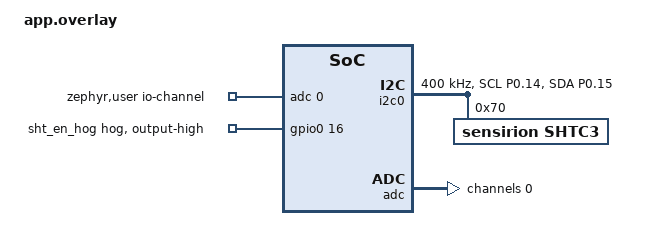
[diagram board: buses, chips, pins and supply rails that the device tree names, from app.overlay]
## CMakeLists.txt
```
cmake_minimum_required(VERSION 3.20.0)
find_package(Zephyr REQUIRED HINTS $ENV{ZEPHYR_BASE})

project(eternal_nrf_code_battery)

target_sources(app PRIVATE src/main.c)
```

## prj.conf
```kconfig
# Bluetooth: broadcaster only (non-connectable advertising, no GATT)
CONFIG_BT=y
CONFIG_BT_BROADCASTER=y
CONFIG_BT_PERIPHERAL=n
CONFIG_BT_OBSERVER=n
CONFIG_BT_CTLR_SDC_PERIPHERAL_COUNT=0
CONFIG_BT_SETTINGS=y
CONFIG_BT_DEVICE_NAME="Eternal"
CONFIG_SETTINGS=y
CONFIG_FLASH=y
CONFIG_FLASH_MAP=y
CONFIG_NVS=y

# Max TX on nRF52810 (+4 dBm) — favor scanner delivery over burst current
CONFIG_BT_CTLR_TX_PWR_PLUS_4=y

# Use external 32.768 kHz crystal (LFXO). DC/DC is enabled by the nrf52dk
# board's `regulator-initial-mode = <NRF5X_REG_MODE_DCDC>` in DT.
CONFIG_CLOCK_CONTROL_NRF_K32SRC_XTAL=y

# Power management: tickless idle is on by default; explicitly enable PM so
# devices (TWIM, SAADC) drop to their low-power pinctrl states between uses.
CONFIG_PM=y
CONFIG_PM_DEVICE=y
CONFIG_PM_DEVICE_RUNTIME=y

# Trim everything we don't need
CONFIG_SIZE_OPTIMIZATIONS=y
CONFIG_BOOT_BANNER=n
CONFIG_SERIAL=n
CONFIG_UART_CONSOLE=n
CONFIG_LOG=n
CONFIG_ASSERT=n
CONFIG_THREAD_NAME=n
CONFIG_THREAD_MONITOR=n
CONFIG_THREAD_STACK_INFO=n

# All logging / console output disabled for production power-saving.
# printk() calls in the source compile to no-ops with CONFIG_PRINTK=n.
CONFIG_CONSOLE=n
CONFIG_PRINTK=n
CONFIG_USE_SEGGER_RTT=n
CONFIG_RTT_CONSOLE=n

# Tight stacks (broadcaster path only)
CONFIG_MAIN_STACK_SIZE=768
CONFIG_IDLE_STACK_SIZE=128
CONFIG_SYSTEM_WORKQUEUE_STACK_SIZE=1024
CONFIG_BT_RX_STACK_SIZE=1024

# SHT-C3 over I2C
CONFIG_I2C=y
CONFIG_SENSOR=y
CONFIG_SHTCX=y

# SAADC for VDD measurement
CONFIG_ADC=y
```

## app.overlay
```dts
#include <zephyr/dt-bindings/gpio/gpio.h>
#include <zephyr/dt-bindings/adc/adc.h>
#include <zephyr/dt-bindings/adc/nrf-saadc.h>

/ {
	zephyr,user {
		io-channels = <&adc 0>;
	};
};

&pinctrl {
	i2c0_default: i2c0_default {
		group1 {
			psels = <NRF_PSEL(TWIM_SCL, 0, 14)>,
				<NRF_PSEL(TWIM_SDA, 0, 15)>;
		};
	};

	i2c0_sleep: i2c0_sleep {
		group1 {
			psels = <NRF_PSEL(TWIM_SCL, 0, 14)>,
				<NRF_PSEL(TWIM_SDA, 0, 15)>;
			low-power-enable;
		};
	};
};

/* Free P0.09 / P0.10 from NFC1/NFC2 mode so they work as plain GPIOs and
 * the NFC antenna-sense circuit isn't burning current in System ON LP.
 * Writes UICR.NFCPINS = Disabled at boot via the HAL init sequence.
 */
&uicr {
	nfct-pins-as-gpios;
};

&gpio0 {
	sht_en_hog {
		gpio-hog;
		gpios = <16 GPIO_ACTIVE_HIGH>;
		output-high;
	};
};

&i2c0 {
	compatible = "nordic,nrf-twim";
	status = "okay";
	pinctrl-0 = <&i2c0_default>;
	pinctrl-1 = <&i2c0_sleep>;
	pinctrl-names = "default", "sleep";
	clock-frequency = <I2C_BITRATE_FAST>;

	shtc3: shtc3@70 {
		compatible = "sensirion,shtc3", "sensirion,shtcx";
		reg = <0x70>;
		measure-mode = "normal";
		zephyr,deferred-init;
	};
};

&adc {
	status = "okay";
	#address-cells = <1>;
	#size-cells = <0>;

	channel@0 {
		reg = <0>;
		zephyr,gain = "ADC_GAIN_1_6";
		zephyr,reference = "ADC_REF_INTERNAL";
		zephyr,acquisition-time = <ADC_ACQ_TIME_DEFAULT>;
		zephyr,input-positive = <NRF_SAADC_VDD>;
		zephyr,resolution = <12>;
	};
};
```

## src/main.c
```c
#include <zephyr/kernel.h>
#include <zephyr/sys/printk.h>
#include <zephyr/device.h>
#include <zephyr/drivers/gpio.h>
#include <zephyr/drivers/sensor.h>
#include <zephyr/drivers/adc.h>
#include <zephyr/bluetooth/bluetooth.h>
#include <zephyr/settings/settings.h>
#include <zephyr/sys/byteorder.h>

/* BTHome v2 service-data format (https://bthome.io)
 *   uuid     : 0xFCD2 (BTHome SIG-assigned 16-bit UUID), little-endian
 *   info     : 0x40 = v2, unencrypted, not trigger-based
 *   0x01     : battery, uint8, % (derived from VDD: 2.20 V = 0%, 3.10 V = 100%)
 *   0x02     : temperature, int16 LE, 0.01 degC resolution
 *   0x03     : humidity, uint16 LE, 0.01 % resolution
 *   0x0F     : generic boolean, uint8 (button state)
 *   0x11     : opening, uint8 (magnet/contact state)
 */
#define BTHOME_UUID         0xFCD2U
#define BTHOME_INFO_V2      0x40U
#define BTHOME_OID_BATTERY  0x01U
#define BTHOME_OID_TEMP     0x02U
#define BTHOME_OID_HUM      0x03U
#define BTHOME_OID_BOOL     0x0FU
#define BTHOME_OID_OPENING  0x11U

/* Linear V->% mapping for the rail powering the nRF VDD pin. Placeholder
 * range; tune to the actual battery / supercap discharge curve once
 * characterised on hardware.
 */
#define BATT_MV_MIN         2200U
#define BATT_MV_MAX         3100U

#define LED0_PIN            10U
#define INPUT_PIN           12U
#define BUTTON_PIN          20U
#define SHT_EN_PIN          16U

#define SENSOR_PERIOD       K_MINUTES(5)
/* Interval matches nrf_doorbell: 20-30 ms (0x0020/0x0030 in 0.625 ms units)
 * instead of BT_LE_ADV_NCONN_IDENTITY's 100-150 ms. ~1500 ms at that cadence
 * is ~50-75 events per burst, vs ~10-15 at the default fast interval, without
 * stretching the radio-on window. TX is +4 dBm (see prj.conf).
 */
#define ADV_BURST_MS        1500U
#define LED_FLASH_MS        30U

/* BLE advertising interval units are 0.625 ms; 0x0020=20 ms, 0x0030=30 ms. */
static const struct bt_le_adv_param adv_param = {
	.id = BT_ID_DEFAULT,
	.sid = 0,
	.secondary_max_skip = 0,
	.options = BT_LE_ADV_OPT_USE_IDENTITY,
	.interval_min = 0x0020,
	.interval_max = 0x0030,
	.peer = NULL,
};

static struct {
	uint16_t uuid;
	uint8_t  info;
	uint8_t  oid_battery;
	uint8_t  battery_pct;
	uint8_t  oid_temp;
	int16_t  temp_centi_c;
	uint8_t  oid_hum;
	uint16_t hum_centi_pct;
	uint8_t  oid_button;
	uint8_t  button_pressed;
	uint8_t  oid_magnet;
	uint8_t  magnet_open;
} __packed svc = {
	.uuid        = sys_cpu_to_le16(BTHOME_UUID),
	.info        = BTHOME_INFO_V2,
	.oid_battery = BTHOME_OID_BATTERY,
	.oid_temp    = BTHOME_OID_TEMP,
	.oid_hum     = BTHOME_OID_HUM,
	.oid_button  = BTHOME_OID_BOOL,
	.oid_magnet  = BTHOME_OID_OPENING,
};

static const struct bt_data ad[] = {
	BT_DATA_BYTES(BT_DATA_FLAGS, BT_LE_AD_NO_BREDR | BT_LE_AD_GENERAL),
	BT_DATA_BYTES(BT_DATA_NAME_COMPLETE,
		      'E', 't', 'e', 'r', 'n', 'a', 'l'),
	BT_DATA(BT_DATA_SVC_DATA16, (const uint8_t *)&svc, sizeof(svc)),
};

static const struct device *const gpio0 = DEVICE_DT_GET(DT_NODELABEL(gpio0));
static const struct device *const shtc3 = DEVICE_DT_GET(DT_NODELABEL(shtc3));
static const struct adc_dt_spec adc_vdd =
	ADC_DT_SPEC_GET(DT_PATH(zephyr_user));

static struct gpio_callback input_cb;
static struct gpio_callback button_cb;
static struct k_work        update_work;
static struct k_work_delayable adv_stop_work;
static struct k_work_delayable sensor_work;
static bool advertising;
static bool bt_ready;

/* Every GPIO we don't drive or sense.
 *
 * Includes both QCAA-exposed pins (4,5,6,9,18,25,28,30) and the die-pad
 * pins that aren't bonded out in the QCAA package (2,3,7,8,11,13,17,19,
 * 22,23,24,26,27,29,31). PIN_CNF still controls those die pads; disabling
 * their input buffers cuts any latent pad leakage. Skipped:
 *   0,1   - XL1/XL2 (LFXO, owned by the clock-control driver)
 *   10    - LED
 *   12    - DRV5032 input
 *   14,15 - I2C SCL/SDA (managed by pinctrl)
 *   16    - SHT_VCC
 *   20    - button
 *   21    - RESET
 */
static const uint8_t unused_pins[] = {
	2, 3, 4, 5, 6, 7, 8, 9, 11, 13,
	17, 18, 19, 22, 23, 24, 25, 26, 27, 28,
	29, 30, 31,
};

static int bt_setup(void)
{
	if (bt_ready) {
		return 0;
	}
	int err = bt_enable(NULL);
	if (err && err != -EALREADY) {
		printk("bt_enable failed: %d\n", err);
		return err;
	}
	if (IS_ENABLED(CONFIG_BT_SETTINGS)) {
		(void)settings_load();
	}
	bt_ready = true;
	return 0;
}

static void bt_teardown(void)
{
	if (!bt_ready) {
		return;
	}
	(void)bt_disable();
	bt_ready = false;
}

static int read_shtc3_sample(int16_t *temp_centi_c, uint16_t *hum_centi_pct)
{
	struct sensor_value temp;
	struct sensor_value hum;
	int rc;

	/* Power-gate the SHTC3: drive SHT_EN high for the read, then low.
	 * Datasheet power-up time is ~240 us; 5 ms gives ample margin and
	 * the CPU just idles during k_sleep().
	 */
	(void)gpio_pin_set(gpio0, SHT_EN_PIN, 1);
	k_sleep(K_MSEC(5));

	rc = sensor_sample_fetch(shtc3);
	if (rc == 0) {
		rc = sensor_channel_get(shtc3, SENSOR_CHAN_AMBIENT_TEMP, &temp);
	}
	if (rc == 0) {
		rc = sensor_channel_get(shtc3, SENSOR_CHAN_HUMIDITY, &hum);
	}

	(void)gpio_pin_set(gpio0, SHT_EN_PIN, 0);

	if (rc) {
		printk("shtc3: read failed (%d)\n", rc);
		return -1;
	}

	int32_t temp_micro = (temp.val1 * 1000000) + temp.val2;
	int32_t hum_micro  = (hum.val1 * 1000000) + hum.val2;

	*temp_centi_c = (int16_t)(temp_micro / 10000);
	if (hum_micro < 0) {
		hum_micro = 0;
	}
	*hum_centi_pct = (uint16_t)(hum_micro / 10000);
	return 0;
}

static uint8_t voltage_to_battery_pct(uint16_t mv)
{
	if (mv <= BATT_MV_MIN) {
		return 0U;
	}
	if (mv >= BATT_MV_MAX) {
		return 100U;
	}
	return (uint8_t)(((uint32_t)(mv - BATT_MV_MIN) * 100U) /
			(BATT_MV_MAX - BATT_MV_MIN));
}

static int read_vdd_millivolts(uint16_t *millivolts)
{
	int16_t raw = 0;
	struct adc_sequence seq = {
		.buffer      = &raw,
		.buffer_size = sizeof(raw),
	};

	int err = adc_sequence_init_dt(&adc_vdd, &seq);
	if (err) {
		return err;
	}
	err = adc_read(adc_vdd.dev, &seq);
	if (err) {
		return err;
	}

	int32_t mv = raw;
	err = adc_raw_to_millivolts_dt(&adc_vdd, &mv);
	if (err) {
		return err;
	}
	if (mv < 0) {
		mv = 0;
	}
	*millivolts = (uint16_t)mv;
	return 0;
}

static void update_work_handler(struct k_work *w)
{
	ARG_UNUSED(w);

	int16_t  t = 0;
	uint16_t h = 0;
	uint16_t v = 0;

	if (read_shtc3_sample(&t, &h) == 0) {
		svc.temp_centi_c  = sys_cpu_to_le16(t);
		svc.hum_centi_pct = sys_cpu_to_le16(h);
	}
	if (read_vdd_millivolts(&v) == 0) {
		svc.battery_pct = voltage_to_battery_pct(v);
	}

	int magnet = gpio_pin_get(gpio0, INPUT_PIN);
	int button = gpio_pin_get(gpio0, BUTTON_PIN);

	svc.button_pressed = (button == 0) ? 1U : 0U;
	svc.magnet_open    = (magnet  > 0) ? 1U : 0U;

	printk("update: t=%d.%02d C  rh=%u.%02u %%  v=%u mV  batt=%u %%  mag=%s  btn=%s\n",
	       t / 100, (t < 0 ? -t : t) % 100,
	       h / 100, h % 100,
	       v, svc.battery_pct,
	       svc.magnet_open ? "open" : "closed",
	       svc.button_pressed ? "down" : "up");

	if (advertising) {
		(void)bt_le_adv_update_data(ad, ARRAY_SIZE(ad), NULL, 0);
	} else {
		if (bt_setup() != 0) {
			return;
		}
		if (bt_le_adv_start(&adv_param, ad,
				    ARRAY_SIZE(ad), NULL, 0)) {
			printk("adv_start failed\n");
			return;
		}
		advertising = true;
	}

	(void)k_work_reschedule(&adv_stop_work, K_MSEC(ADV_BURST_MS));
}

static void adv_stop_handler(struct k_work *w)
{
	ARG_UNUSED(w);
	if (advertising) {
		(void)bt_le_adv_stop();
		advertising = false;
	}
	/* Brief "going to sleep" blink. Runs on the system workqueue so
	 * k_sleep() just yields the CPU to idle for the flash duration.
	 */
	(void)gpio_pin_set(gpio0, LED0_PIN, 1);
	k_sleep(K_MSEC(LED_FLASH_MS));
	(void)gpio_pin_set(gpio0, LED0_PIN, 0);

	/* Tear down the BLE controller for the long idle window. The next
	 * update_work will rebuild it via bt_setup(). At a 5-min cycle the
	 * one-shot enable cost (~30 ms HFCLK + flash read) is heavily
	 * dominated by the ~1-2 uA continuous saving while disabled.
	 */
	bt_teardown();
}

static void sensor_work_handler(struct k_work *w)
{
	ARG_UNUSED(w);
	(void)k_work_submit(&update_work);
	(void)k_work_reschedule(&sensor_work, SENSOR_PERIOD);
}

/* Re-arm SENSE on a pin to fire on its NEXT transition. We use level-mode
 * interrupts (which map to GPIOTE PORT/SENSE on the nRF gpio driver, LFCLK-
 * based, ~0 uA idle) rather than edge-mode interrupts (which allocate a
 * GPIOTE channel in IN-event mode and burn ~5-6 uA continuously in System
 * ON LP). After each detection the callback flips the sense polarity, so
 * functionally this behaves identically to GPIO_INT_EDGE_BOTH.
 */
static void rearm_pin_sense(gpio_pin_t pin)
{
	int level = gpio_pin_get(gpio0, pin);
	(void)gpio_pin_interrupt_configure(gpio0, pin,
		level > 0 ? GPIO_INT_LEVEL_LOW : GPIO_INT_LEVEL_HIGH);
}

static void gpio_event_cb(const struct device *dev,
			  struct gpio_callback *cb, uint32_t pins)
{
	ARG_UNUSED(dev);
	ARG_UNUSED(cb);

	if (pins & BIT(INPUT_PIN)) {
		rearm_pin_sense(INPUT_PIN);
	}
	if (pins & BIT(BUTTON_PIN)) {
		rearm_pin_sense(BUTTON_PIN);
	}
	(void)k_work_submit(&update_work);
}

int main(void)
{
	printk("nrf-sensor: boot\n");

	if (!device_is_ready(gpio0)) {
		printk("gpio0 not ready\n");
		return -1;
	}
	if (!device_is_ready(adc_vdd.dev)) {
		printk("adc not ready\n");
		return -1;
	}

	/* LED: drive low (off) by default. Only pulsed briefly after each
	 * BLE burst as a "going to sleep" indicator.
	 */
	if (gpio_pin_configure(gpio0, LED0_PIN, GPIO_OUTPUT_INACTIVE)) {
		printk("led pin config failed\n");
		return -1;
	}

	/* Power up the SHTC3 long enough to run device_init() (the driver
	 * does a wake + ID-check + sleep over I2C). The DT gpio-hog already
	 * holds SHT_EN high at boot; this re-asserts it explicitly so we
	 * own the pin from here on.
	 */
	if (gpio_pin_configure(gpio0, SHT_EN_PIN, GPIO_OUTPUT_ACTIVE)) {
		printk("sht_en config failed\n");
		return -1;
	}
	k_sleep(K_MSEC(20));

	if (device_init(shtc3)) {
		printk("shtc3 init failed\n");
		return -1;
	}
	if (!device_is_ready(shtc3)) {
		printk("shtc3 not ready\n");
		return -1;
	}

	/* Init complete; gate the sensor power off. read_shtc3_sample()
	 * re-asserts SHT_EN around each measurement.
	 */
	(void)gpio_pin_set(gpio0, SHT_EN_PIN, 0);

	if (adc_channel_setup_dt(&adc_vdd)) {
		printk("adc channel setup failed\n");
		return -1;
	}

	/* DRV5032 (push-pull variant) actively drives both rails; no internal
	 * pull needed, and adding one would just burn current fighting the
	 * driver whenever the output sits in the opposite state.
	 */
	if (gpio_pin_configure(gpio0, INPUT_PIN, GPIO_INPUT)) {
		printk("input pin config failed\n");
		return -1;
	}
	if (gpio_pin_configure(gpio0, BUTTON_PIN,
			       GPIO_INPUT | GPIO_PULL_UP)) {
		printk("button pin config failed\n");
		return -1;
	}

	gpio_init_callback(&input_cb,  gpio_event_cb, BIT(INPUT_PIN));
	gpio_init_callback(&button_cb, gpio_event_cb, BIT(BUTTON_PIN));
	gpio_add_callback(gpio0, &input_cb);
	gpio_add_callback(gpio0, &button_cb);

	/* Arm SENSE on the current pin state's opposite polarity. See
	 * rearm_pin_sense() above for why we avoid GPIO_INT_EDGE_*.
	 */
	rearm_pin_sense(INPUT_PIN);
	rearm_pin_sense(BUTTON_PIN);

	/* Disconnect every pin we don't drive or sense. Reset state is
	 * input-with-buffer-enabled, which can burn pad leakage if the pin
	 * floats around mid-rail.
	 */
	for (size_t i = 0; i < ARRAY_SIZE(unused_pins); i++) {
		(void)gpio_pin_configure(gpio0, unused_pins[i],
					 GPIO_DISCONNECTED);
	}

	/* BLE controller is brought up on demand by update_work_handler ->
	 * bt_setup(), and torn down by adv_stop_handler -> bt_teardown().
	 * No need to call bt_enable() here.
	 */

	k_work_init(&update_work, update_work_handler);
	k_work_init_delayable(&adv_stop_work,  adv_stop_handler);
	k_work_init_delayable(&sensor_work,    sensor_work_handler);

	/* First publish, then arm the periodic sensor timer. The CPU stays
	 * in System ON low-power between events; wake sources are the
	 * GPIOTE PORT/SENSE detect on INPUT_PIN + BUTTON_PIN and the RTC
	 * tick driving the delayable workqueue.
	 */
	(void)k_work_submit(&update_work);
	(void)k_work_reschedule(&sensor_work, SENSOR_PERIOD);

	return 0;
}
```
